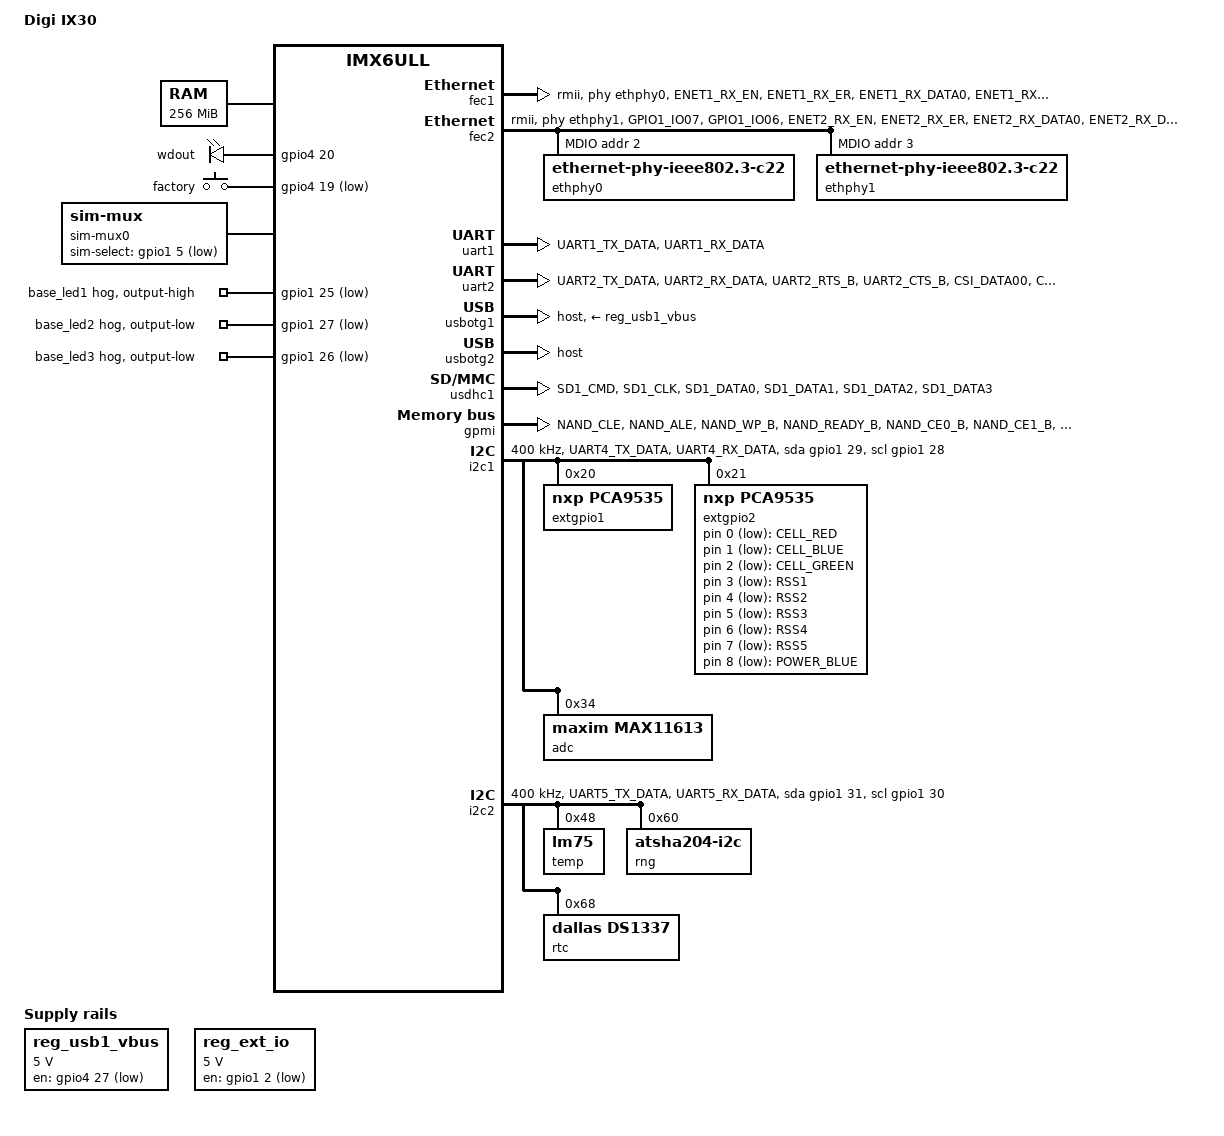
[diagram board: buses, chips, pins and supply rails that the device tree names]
/*
 * Copyright (C) 2016 Freescale Semiconductor, Inc.
 * Copyright (C) 2021 Digi International
 *
 * This program is free software; you can redistribute it and/or modify
 * it under the terms of the GNU General Public License version 2 as
 * published by the Free Software Foundation.
 */

/dts-v1/;

#include "imx6ull.dtsi"
#include "imx6-pstore-256MB.dtsi"

/ {
	model = "Digi IX30";
	compatible = "digi,ix30", "fsl,imx6ull";

	chosen {
		stdout-path = &uart1;
	};

	memory {
		device_type = "memory";
		reg = <0x80000000 0x10000000>;
	};

	cpus {
		cpu0: cpu@0 {
			operating-points = <
                                /* kHz  uV */
                                900000  1275000
				792000	1225000
                                528000  1175000
                                396000  1025000
                                198000  950000
                        >;
                        fsl,soc-operating-points = <
                                /* KHz  uV */
                                900000  1275000
				792000	1175000
                                528000  1175000
                                396000  1175000
                                198000  1175000
                        >;
		};
	};

	regulators {
		compatible = "simple-bus";
		#address-cells = <1>;
		#size-cells = <0>;
	};

	leds {
		compatible = "gpio-leds";

		cell-red-led {
			label = "CELL_RED";
			gpios = <&extgpio2 0 GPIO_ACTIVE_LOW>;
			linux,default-trigger = "none";
		};

		cell-blue-led {
			label = "CELL_BLUE";
			gpios = <&extgpio2 1 GPIO_ACTIVE_LOW>;
			linux,default-trigger = "none";
		};

		cell-green-led {
			label = "CELL_GREEN";
			gpios = <&extgpio2 2 GPIO_ACTIVE_LOW>;
			linux,default-trigger = "none";
		};

		rss1-led {
			label = "RSS1";
			gpios = <&extgpio2 3 GPIO_ACTIVE_LOW>;
			linux,default-trigger = "none";
		};

		rss2-led {
			label = "RSS2";
			gpios = <&extgpio2 4 GPIO_ACTIVE_LOW>;
			linux,default-trigger = "none";
		};

		rss3-led {
			label = "RSS3";
			gpios = <&extgpio2 5 GPIO_ACTIVE_LOW>;
			linux,default-trigger = "none";
		};

		rss4-led {
			label = "RSS4";
			gpios = <&extgpio2 6 GPIO_ACTIVE_LOW>;
			linux,default-trigger = "none";
		};

		rss5-led {
			label = "RSS5";
			gpios = <&extgpio2 7 GPIO_ACTIVE_LOW>;
			linux,default-trigger = "none";
		};

		pwr-blue-led {
			label = "POWER_BLUE";
			gpios = <&extgpio2 8 GPIO_ACTIVE_LOW>;
			linux,default-trigger = "none";
		};
	};

	watchdog {
		compatible = "gpio-leds";

		wdout-gpio {
			label = "wdout";
			pinctrl-names = "default";
			pinctrl-0 = <&pinctrl_wdout>;
			gpios = <&gpio4 20 GPIO_ACTIVE_HIGH>;
		};
	};

	reg_usb1_vbus: regulator-usb1-vbus {
		compatible = "regulator-fixed";
		regulator-name = "usb1-vbus";
		regulator-min-microvolt = <5000000>;
		regulator-max-microvolt = <5000000>;
		gpio = <&gpio4 27 GPIO_ACTIVE_LOW>;
	};

	reg_ext_io: regulator-ext-io {
		compatible = "regulator-fixed";
		regulator-name = "ext-io";
		regulator-min-microvolt = <5000000>;
		regulator-max-microvolt = <5000000>;
		gpio = <&gpio1 2 GPIO_ACTIVE_LOW>;
		regulator-boot-on;
		regulator-always-on;
	};

	digital_ios {
		compatible = "fabricated-gpio";
		gpio-line-names = "dio1", "dio2", "dio3", "dio4";

		dio1 {
			input-gpio = <&gpio1 12 GPIO_ACTIVE_HIGH>;
			output-gpio = <&extgpio1 4 GPIO_ACTIVE_LOW>;
			pullup-gpio = <&extgpio1 8 GPIO_ACTIVE_LOW>;

			disable-pullup;
		};

		dio2 {
			input-gpio = <&extgpio1 1 GPIO_ACTIVE_HIGH>;
			output-gpio = <&extgpio1 5 GPIO_ACTIVE_LOW>;
			pullup-gpio = <&extgpio1 9 GPIO_ACTIVE_LOW>;

			disable-pullup;
		};

		dio3 {
			input-gpio = <&extgpio1 2 GPIO_ACTIVE_HIGH>;
			output-gpio = <&extgpio1 6 GPIO_ACTIVE_LOW>;
			pullup-gpio = <&extgpio1 10 GPIO_ACTIVE_LOW>;

			disable-pullup;
		};

		dio4 {
			input-gpio = <&extgpio1 3 GPIO_ACTIVE_HIGH>;
			output-gpio = <&extgpio1 7 GPIO_ACTIVE_LOW>;
			pullup-gpio = <&extgpio1 11 GPIO_ACTIVE_LOW>;

			disable-pullup;
		};
	};

	gpio-keys {
		compatible = "gpio-keys";

		factory-button {
			label = "factory";
			linux,code = <KEY_DELETE>;
			gpios = <&gpio4 19 GPIO_ACTIVE_LOW>;
		};
	};

	sim-mux0 {
		compatible = "sim-mux";

		sim-select-gpios  = <&gpio1 5 GPIO_ACTIVE_LOW>;

		sim-count = <2>;
	};
};

&gpio1 {
	gpio-line-names = "", "cell_pwr", "extio_power", "cell_disable", "", "sim_select", "", "",
			  "", "", "", "", "pulse_cnt", "", "", "",
			  "", "", "", "", "", "", "", "",
			  "wifi_pwr", "", "", "", "", "", "", "";
};

&gpio2 {
	gpio-line-names = "", "", "", "", "", "", "", "",
			  "", "", "", "", "", "", "", "",
			  "", "", "", "", "", "", "", "",
			  "", "", "", "", "", "", "", "";
};

&gpio3 {
	gpio-line-names = "", "", "", "", "", "", "", "",
			  "", "", "", "", "", "", "", "",
			  "", "", "", "", "", "", "developer", "",
			  "", "", "", "", "", "", "", "";
};

&gpio4 {
	gpio-line-names = "", "", "", "", "", "", "", "",
			  "", "", "", "", "", "", "", "",
			  "", "", "", "factory", "", "uart_232_on", "uart_232_shdn",
			  "uart_485_term",
			  "uart_4w_2w", "", "", "", "", "", "", "";
};

&gpio5 {
	gpio-line-names = "", "", "", "", "", "", "", "",
			  "", "", "", "", "", "", "", "",
			  "", "", "", "", "", "", "", "",
			  "", "", "", "", "", "", "", "";
};

&cpu0 {
	arm-supply = <&reg_arm>;
	soc-supply = <&reg_soc>;
};

&fec1 {
	pinctrl-names = "default";
	pinctrl-0 = <&pinctrl_enet1>;
	phy-mode = "rmii";
	phy-handle = <&ethphy0>;
	status = "okay";
};

&fec2 {
	pinctrl-names = "default";
	pinctrl-0 = <&pinctrl_enet2>;
	phy-mode = "rmii";
	phy-handle = <&ethphy1>;
	status = "okay";

	mdio {
		#address-cells = <1>;
		#size-cells = <0>;

		ethphy0: ethernet-phy@2 {
			compatible = "ethernet-phy-ieee802.3-c22";
			reg = <2>;
			clocks = <&clks IMX6UL_CLK_ENET_REF>;
			clock-names = "rmii-ref";
			unlink-power-down;
		};

		ethphy1: ethernet-phy@3 {
			compatible = "ethernet-phy-ieee802.3-c22";
			reg = <3>;
			clocks = <&clks IMX6UL_CLK_ENET_REF>;
			clock-names = "rmii-ref";
			unlink-power-down;
		};
	};
};

&uart1 {
	pinctrl-names = "default";
	pinctrl-0 = <&pinctrl_uart1>;
	status = "okay";
};

&uart2 {
	pinctrl-names = "default";
	pinctrl-0 = <&pinctrl_uart2>;
	uart-has-rtscts;
	dtr-gpios = <&gpio4 26 GPIO_ACTIVE_LOW>;
	dcd-gpios = <&gpio4 25 GPIO_ACTIVE_LOW>;
	dsr-gpios = <&gpio3 0 GPIO_ACTIVE_LOW>;
	rng-gpios = <&gpio3 1 GPIO_ACTIVE_LOW>;
	status = "okay";
};

&usbotg1 {
	dr_mode = "host";
	vbus-supply = <&reg_usb1_vbus>;
	/* TODO: add over-current GPIO */
	disable-over-current;
	status = "okay";
};

&usbotg2 {
	dr_mode = "host";
	status = "okay";
	disable-over-current;
};

&usdhc1 {
	pinctrl-names = "default";
	pinctrl-0 = <&pinctrl_usdhc1>;
	status = "okay";
};

&usbphy1 {
	tx-d-cal = <0x5>;
};

&usbphy2 {
	tx-d-cal = <0x5>;
};

&wdog1 {
	pinctrl-names = "default";
	pinctrl-0 = <&pinctrl_wdog>;
	fsl,wdog_b;
};

&gpmi {
	pinctrl-names = "default";
	pinctrl-0 = <&pinctrl_gpmi_nand>;
	status = "okay";
	fsl,legacy-bch-geometry;
	#size-cells = <1>;

	partition@0 {
		label="u-boot";
		reg = <0x00000000 0x00500000>;
	};
	partition@1 {
		label="u-boot-env";
		reg = <0x00500000 0x00100000>;
	};
	partition@2 {
		label="log";
		reg = <0x00600000 0x00200000>;
	};
	partition@3 {
		label="flash";
		reg = <0x00800000 0>;
	};
	partition@4 {
		label="all";
		reg = <0x00000000 0>;
	};
};

&i2c1 {
	clock-frequency = <400000>;
	pinctrl-names = "default", "gpio";
	pinctrl-0 = <&pinctrl_i2c1>;
	pinctrl-1 = <&pinctrl_i2c1_gpio>;
	scl-gpios = <&gpio1 28 (GPIO_ACTIVE_HIGH | GPIO_OPEN_DRAIN)>;
	sda-gpios = <&gpio1 29 (GPIO_ACTIVE_HIGH | GPIO_OPEN_DRAIN)>;
	status = "okay";

	extgpio1: pca9535@20 {
		compatible = "nxp,pca9535";
		reg = <0x20>;
		gpio-controller;
		#gpio-cells = <2>;

		gpio-line-names =
			"user_din1", "user_din2", "user_din3", "user_din4",
			"user_dout1", "user_dout2", "user_dout3", "user_dout4",
			"user_pup1", "user_pup2", "user_pup3", "user_pup4",
			"4_20_p1n", "4_20_p2n", "4_20_p3n", "4_20_p4n";

		/* Unused in favor of 'pulse-cnt' GPIO */
		din1-hog {
			gpio-hog;
			gpios = <0 GPIO_ACTIVE_HIGH>;
			input;
			line-name = "din1_hog";
		};
	};

	extgpio2: pca9535@21 {
		compatible = "nxp,pca9535";
		reg = <0x21>;
		gpio-controller;
		#gpio-cells = <2>;

		gpio-line-names =
			"lte_red", "lte_blue", "lte_green", "rssi_1",
			"rssi_2", "rssi_3", "rssi_4", "rssi_5",
			"power";
	};

	adc: max11613@34 {
		compatible = "maxim,max11613";
		reg = <0x34>;
	};
};

&i2c2 {
	clock-frequency = <400000>;
	pinctrl-names = "default", "gpio";
	pinctrl-0 = <&pinctrl_i2c2>;
	pinctrl-1 = <&pinctrl_i2c2_gpio>;
	scl-gpios = <&gpio1 30 (GPIO_ACTIVE_HIGH | GPIO_OPEN_DRAIN)>;
	sda-gpios = <&gpio1 31 (GPIO_ACTIVE_HIGH | GPIO_OPEN_DRAIN)>;
	status = "okay";

	temp: lm75@48 {
		compatible = "lm75";
		reg = <0x48>;
	};

	rng: atecc508a@60 {
		compatible = "atsha204-i2c";
		reg = <0x60>;
	};

	rtc: ds1337@68 {
		compatible = "dallas,ds1337";
		reg = <0x68>;
	};
};

&iomuxc {
	pinctrl-names = "default";
	pinctrl-0 = <&pinctrl_hog>;

	pinctrl_enet1: enet1grp {
		fsl,pins = <
			MX6UL_PAD_ENET1_RX_EN__ENET1_RX_EN	0x1b0b0
			MX6UL_PAD_ENET1_RX_ER__ENET1_RX_ER	0x1b0b0
			MX6UL_PAD_ENET1_RX_DATA0__ENET1_RDATA00	0x1b0b0
			MX6UL_PAD_ENET1_RX_DATA1__ENET1_RDATA01	0x1b0b0
			MX6UL_PAD_ENET1_TX_EN__ENET1_TX_EN	0x1b0b0
			MX6UL_PAD_ENET1_TX_DATA0__ENET1_TDATA00	0x1b0b0
			MX6UL_PAD_ENET1_TX_DATA1__ENET1_TDATA01	0x1b0b0
			MX6UL_PAD_ENET1_TX_CLK__ENET1_REF_CLK1	0x4001b031
		>;
	};

	pinctrl_enet2: enet2grp {
		fsl,pins = <
			MX6UL_PAD_GPIO1_IO07__ENET2_MDC		0x1b0b0
			MX6UL_PAD_GPIO1_IO06__ENET2_MDIO	0x1b0b0
			MX6UL_PAD_ENET2_RX_EN__ENET2_RX_EN	0x1b0b0
			MX6UL_PAD_ENET2_RX_ER__ENET2_RX_ER	0x1b0b0
			MX6UL_PAD_ENET2_RX_DATA0__ENET2_RDATA00	0x1b0b0
			MX6UL_PAD_ENET2_RX_DATA1__ENET2_RDATA01	0x1b0b0
			MX6UL_PAD_ENET2_TX_EN__ENET2_TX_EN	0x1b0b0
			MX6UL_PAD_ENET2_TX_DATA0__ENET2_TDATA00	0x1b0b0
			MX6UL_PAD_ENET2_TX_DATA1__ENET2_TDATA01	0x1b0b0
			MX6UL_PAD_ENET2_TX_CLK__ENET2_REF_CLK2	0x4001b031
		>;
	};

	pinctrl_uart1: uart1grp {
		fsl,pins = <
			MX6UL_PAD_UART1_TX_DATA__UART1_DCE_TX	0x1b0b1
			MX6UL_PAD_UART1_RX_DATA__UART1_DCE_RX	0x1b0b1
		>;
	};

	pinctrl_uart2: uart2grp {
		fsl,pins = <
			MX6UL_PAD_UART2_TX_DATA__UART2_DCE_TX	0x1b0b1
			MX6UL_PAD_UART2_RX_DATA__UART2_DCE_RX	0x1b0b1
			MX6UL_PAD_UART2_RTS_B__UART2_DCE_RTS	0x1b0b1
			MX6UL_PAD_UART2_CTS_B__UART2_DCE_CTS	0x1b0b1
			MX6UL_PAD_CSI_DATA00__GPIO4_IO21	0x1b0b1
			MX6UL_PAD_CSI_DATA01__GPIO4_IO22	0x1b0b1
		>;
	};

	pinctrl_wdog: wdoggrp {
		fsl,pins = <
			MX6UL_PAD_LCD_RESET__WDOG1_WDOG_ANY    0x30b0
		>;
	};

	pinctrl_gpmi_nand: gpmi-nand-1 {
		fsl,pins = <
			MX6UL_PAD_NAND_CLE__RAWNAND_CLE         0xb0b1
			MX6UL_PAD_NAND_ALE__RAWNAND_ALE         0xb0b1
			MX6UL_PAD_NAND_WP_B__RAWNAND_WP_B       0xb0b1
			MX6UL_PAD_NAND_READY_B__RAWNAND_READY_B 0xb000
			MX6UL_PAD_NAND_CE0_B__RAWNAND_CE0_B     0xb0b1
			MX6UL_PAD_NAND_CE1_B__RAWNAND_CE1_B     0xb0b1
			MX6UL_PAD_NAND_RE_B__RAWNAND_RE_B       0xb0b1
			MX6UL_PAD_NAND_WE_B__RAWNAND_WE_B       0xb0b1
			MX6UL_PAD_NAND_DATA00__RAWNAND_DATA00   0xb0b1
			MX6UL_PAD_NAND_DATA01__RAWNAND_DATA01   0xb0b1
			MX6UL_PAD_NAND_DATA02__RAWNAND_DATA02   0xb0b1
			MX6UL_PAD_NAND_DATA03__RAWNAND_DATA03   0xb0b1
			MX6UL_PAD_NAND_DATA04__RAWNAND_DATA04   0xb0b1
			MX6UL_PAD_NAND_DATA05__RAWNAND_DATA05   0xb0b1
			MX6UL_PAD_NAND_DATA06__RAWNAND_DATA06   0xb0b1
			MX6UL_PAD_NAND_DATA07__RAWNAND_DATA07   0xb0b1
		>;
	};

	pinctrl_i2c1: i2c1grp {
		fsl,pins = <
			MX6UL_PAD_UART4_TX_DATA__I2C1_SCL	0x4001b8b0
			MX6UL_PAD_UART4_RX_DATA__I2C1_SDA	0x4001b8b0
		>;
	};

	pinctrl_i2c1_gpio: i2c1gpiogrp {
		fsl,pins = <
			MX6UL_PAD_UART4_TX_DATA__GPIO1_IO28	0x4001b8b0
			MX6UL_PAD_UART4_RX_DATA__GPIO1_IO29	0x4001b8b0
		>;
	};

	pinctrl_i2c2: i2c2grp {
		fsl,pins = <
			MX6UL_PAD_UART5_TX_DATA__I2C2_SCL	0x4001b8b0
			MX6UL_PAD_UART5_RX_DATA__I2C2_SDA	0x4001b8b0
		>;
	};

	pinctrl_i2c2_gpio: i2c2gpiogrp {
		fsl,pins = <
			MX6UL_PAD_UART5_TX_DATA__GPIO1_IO30	0x4001b8b0
			MX6UL_PAD_UART5_RX_DATA__GPIO1_IO31	0x4001b8b0
		>;
	};

	pinctrl_devkey: devkeygrp {
		fsl,pins = <
			MX6UL_PAD_LCD_DATA17__GPIO3_IO22	0x00000
		>;
	};

	pinctrl_wdout: extwdoggrp {
		fsl,pins = <
			MX6UL_PAD_CSI_HSYNC__GPIO4_IO20		0x00010
		>;
	};

	pinctrl_usdhc1: usdhc1grp {
		fsl,pins = <
			MX6UL_PAD_SD1_CMD__USDHC1_CMD           0x17059
			MX6UL_PAD_SD1_CLK__USDHC1_CLK           0x17051
			MX6UL_PAD_SD1_DATA0__USDHC1_DATA0       0x17059
			MX6UL_PAD_SD1_DATA1__USDHC1_DATA1       0x17059
			MX6UL_PAD_SD1_DATA2__USDHC1_DATA2       0x17059
			MX6UL_PAD_SD1_DATA3__USDHC1_DATA3       0x17059
		>;
	};

	pinctrl_hog: hoggrp {
		/* Pulse counter input */
		fsl,pins = <
			MX6UL_PAD_JTAG_TDO__GPIO1_IO12		0x1b0b1
		>;
	};
};

&gpio1 {
	base_led1 {
		gpio-hog;
		gpios = <25 GPIO_ACTIVE_LOW>;
		/* Keep it turn on */
		output-high;
	};

	base_led2 {
		gpio-hog;
		gpios = <27 GPIO_ACTIVE_LOW>;
		/* Keep it turn on */
		output-low;
	};

	base_led3 {
		gpio-hog;
		gpios = <26 GPIO_ACTIVE_LOW>;
		/* Keep it turn on */
		output-low;
	};
};
